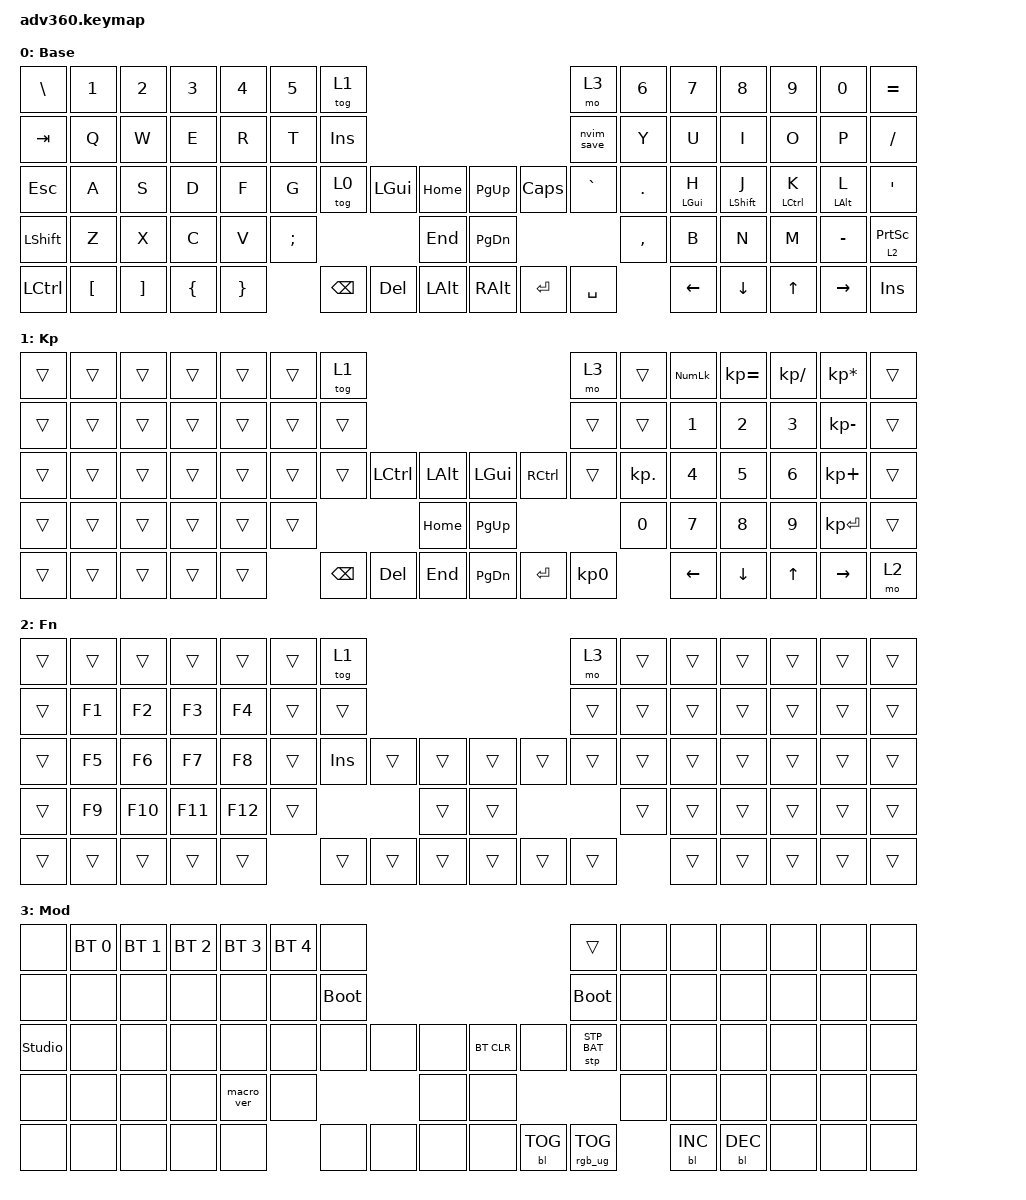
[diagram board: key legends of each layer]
#include <dt-bindings/zmk/stp.h>
#include <behaviors.dtsi>
#include <dt-bindings/zmk/backlight.h>
#include <dt-bindings/zmk/bt.h>
#include <dt-bindings/zmk/keys.h>
#include <dt-bindings/zmk/rgb.h>

/ {
    behaviors {
        #include "macros.dtsi"
      #include "version.dtsi"

        hm: homerow_mods {
            compatible = "zmk,behavior-hold-tap";
            label = "HOMEROW_MODS";
            #binding-cells = <2>;
            tapping-term-ms = <200>;
            quick_tap_ms = <175>;
            flavor = "tap-preferred";
            bindings = <&kp>, <&kp>;
        };
    };

    macros {
        nvim_save: new_macro {
            compatible = "zmk,behavior-macro";
            #binding-cells = <0>;
            bindings = <&kp COLON &kp W &kp EXCLAMATION &kp RET>;
            label = "NEW_MACRO";
        };
    };

    keymap {
        compatible = "zmk,keymap";

        default_layer {
            display-name = "Base";
            bindings = <
&kp BACKSLASH  &kp N1            &kp N2             &kp N3          &kp N4           &kp N5         &tog 1                                                                &mo 3       &kp N6      &kp N7          &kp N8            &kp N9              &kp N0          &kp EQUAL
&kp TAB        &kp Q             &kp W              &kp E           &kp R            &kp T          &kp INSERT                                                            &nvim_save  &kp Y       &kp U           &kp I             &kp O               &kp P           &kp SLASH
&kp ESC        &kp A             &kp S              &kp D           &kp F            &kp G          &tog 0      &kp LEFT_GUI  &kp HOME          &kp PG_UP      &kp CLCK   &kp GRAVE   &kp PERIOD  &hm LEFT_GUI H  &hm LEFT_SHIFT J  &hm LEFT_CONTROL K  &hm LEFT_ALT L  &kp SQT
&kp LSHFT      &kp Z             &kp X              &kp C           &kp V            &kp SEMICOLON                            &kp END           &kp PG_DN                             &kp COMMA   &kp B           &kp N             &kp M               &kp MINUS       &lt 2 PRINTSCREEN
&kp LCTRL      &kp LEFT_BRACKET  &kp RIGHT_BRACKET  &kp LEFT_BRACE  &kp RIGHT_BRACE                 &kp BSPC    &kp DEL       &kp LEFT_ALT      &kp RIGHT_ALT  &kp ENTER  &kp SPACE               &kp LEFT        &kp DOWN_ARROW    &kp UP_ARROW        &kp RIGHT       &kp INSERT
            >;
        };

        keypad {
            display-name = "Kp";
            bindings = <
&trans  &trans  &trans  &trans  &trans  &trans  &tog 1                                                   &mo 3      &trans        &kp KP_NUM    &kp KP_EQUAL  &kp KP_DIVIDE  &kp KP_MULTIPLY  &trans
&trans  &trans  &trans  &trans  &trans  &trans  &trans                                                   &trans     &trans        &kp NUMBER_1  &kp NUMBER_2  &kp NUMBER_3   &kp KP_MINUS     &trans
&trans  &trans  &trans  &trans  &trans  &trans  &trans    &kp LCTRL  &kp LALT      &kp LGUI   &kp RCTRL  &trans     &kp KP_DOT    &kp NUMBER_4  &kp N5        &kp NUMBER_6   &kp KP_PLUS      &trans
&trans  &trans  &trans  &trans  &trans  &trans                       &kp HOME      &kp PG_UP                        &kp NUMBER_0  &kp NUMBER_7  &kp NUMBER_8  &kp NUMBER_9   &kp KP_ENTER     &trans
&trans  &trans  &trans  &trans  &trans          &kp BSPC  &kp DEL    &kp END       &kp PG_DN  &kp ENTER  &kp KP_N0                &kp LEFT      &kp DOWN      &kp UP_ARROW   &kp RIGHT        &mo 2
            >;
        };

        fn {
            display-name = "Fn";
            bindings = <
&trans  &trans  &trans   &trans   &trans   &trans  &tog 1                                          &mo 3   &trans  &trans  &trans  &trans  &trans  &trans
&trans  &kp F1  &kp F2   &kp F3   &kp F4   &trans  &trans                                          &trans  &trans  &trans  &trans  &trans  &trans  &trans
&trans  &kp F5  &kp F6   &kp F7   &kp F8   &trans  &kp INSERT  &trans  &trans      &trans  &trans  &trans  &trans  &trans  &trans  &trans  &trans  &trans
&trans  &kp F9  &kp F10  &kp F11  &kp F12  &trans                      &trans      &trans                  &trans  &trans  &trans  &trans  &trans  &trans
&trans  &trans  &trans   &trans   &trans           &trans      &trans  &trans      &trans  &trans  &trans          &trans  &trans  &trans  &trans  &trans
            >;
        };

        mod {
            display-name = "Mod";
            bindings = <
&none           &bt BT_SEL 0  &bt BT_SEL 1  &bt BT_SEL 2  &bt BT_SEL 3  &bt BT_SEL 4  &none                                                  &trans           &none  &none       &none       &none  &none  &none
&none           &none         &none         &none         &none         &none         &bootloader                                            &bootloader      &none  &none       &none       &none  &none  &none
&studio_unlock  &none         &none         &none         &none         &none         &none        &none  &none      &bt BT_CLR  &none       &stp STP_BAT     &none  &none       &none       &none  &none  &none
&none           &none         &none         &none         &macro_ver    &none                             &none      &none                                    &none  &none       &none       &none  &none  &none
&none           &none         &none         &none         &none                       &none        &none  &none      &none       &bl BL_TOG  &rgb_ug RGB_TOG         &bl BL_INC  &bl BL_DEC  &none  &none  &none
            >;
        };

        extra1 {
            display-name = "Red";
            status = "reserved";
        };

        extra2 {
            display-name = "Purple";
            status = "reserved";
        };

        extra3 {
            display-name = "Cyan";
            status = "reserved";
        };

        extra4 {
            display-name = "Yellow";
            status = "reserved";
        };
    };
};
